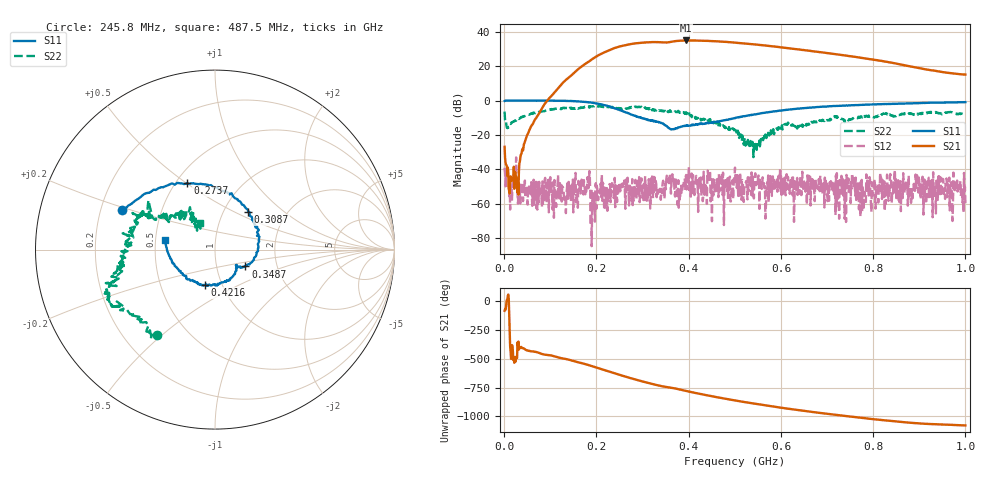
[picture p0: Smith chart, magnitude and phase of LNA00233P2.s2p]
! Created with skrf 1.9.0 (http://scikit-rf.org).
# Hz S RI R 50.0
!freq ReS11 ImS11 ReS21 ImS21 ReS12 ImS12 ReS22 ImS22
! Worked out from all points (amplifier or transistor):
!   1001 points, 1 MHz to 1 GHz, reference 50 ohm
!   highest |S21| = 34.9 dB at 394.6 MHz (marker M1)
!   |S21| within 3 dB of that: 258.1 MHz to 568.2 MHz (310.1 MHz wide, 75.1 % of centre)
!   unconditionally stable (mu >= 1): start of sweep to 87.8 MHz; 305.7 MHz to 400.3 MHz; 400.8 MHz to end of sweep (the widest 3 of 31)
!   at 166.8 MHz: K = 0.65, MSG = 34.2 dB, |S12| = -48.9 dB
!   at 500.5 MHz: K = 1.12, MAG = 34.2 dB, |S12| = -39.0 dB
!   at 1 GHz: K = 13.59, MAG = 23.0 dB, |S12| = -59.7 dB
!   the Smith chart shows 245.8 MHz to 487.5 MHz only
!   S11 on the Smith chart (normalised r, x): 245.8 MHz: 0.29, +0.19; 273.7 MHz: 0.57, +0.50; 308.7 MHz: 1.30, +0.59; 348.7 MHz: 1.38, -0.27; 421.6 MHz: 0.83, -0.34; 487.5 MHz: 0.56, +0.06
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1000000  0.9737 0.00489  0.00637 -0.0448  -0.00929 0.00628  0.3705 0.3045
1.07893e8  0.5144 -0.8521  -0.7523 -1.459  0.00032 0.000226  0.431 -0.3773
1.67833e8  -0.2613 -0.8912  -9.759 -0.4425  -0.00382 0.00327  0.034 -0.629
2.1079e8  -0.6946 -0.3379  -15.13 17.28  0.000559 -0.00146  -0.2289 -0.6513
2.27773e8  -0.6763 -0.0485  -9.341 27.55  -0.00315 0.000232  -0.2748 -0.5871
2.45755e8  -0.5167 0.2181  2.354 35.63  -0.00328 0.002  -0.3232 -0.4752
2.73727e8  -0.1534 0.3697  27.16 34.13  0.00181 0.00026  -0.5553 -0.3185
3.08692e8  0.1847 0.2108  47.93 10.94  0.00124 -0.000142  -0.5683 -0.1834
3.34666e8  0.2401 -0.00758  48.54 -10.81  -0.000618 0.00295  -0.5005 -0.0462
3.48652e8  0.1693 -0.0939  44.81 -19.31  0.00138 0.00325  -0.5031 0.0151
3.72628e8  0.1222 -0.0963  41.41 -34.17  -0.00212 0.000511  -0.4452 0.1558
3.94606e8  0.0763 -0.1739  27.79 -48.4  0.000102 0.00689  -0.4086 0.2048
4.21579e8  -0.0576 -0.1968  6.605 -54.53  0.000981 0.00247  -0.2208 0.1776
4.5055e8  -0.1902 -0.1292  -14.88 -51.75  -0.000126 0.000284  -0.1495 0.1949
4.87513e8  -0.2793 0.0522  -34.15 -36.21  0.00252 0.00147  -0.0821 0.1485
5.005e8  -0.2761 0.1327  -38.67 -29.22  0.00655 -0.00916  -0.116 0.0798
5.4046e8  -0.2023 0.3312  -42.32 -7.752  0.00212 -0.00402  -0.0219 0.00573
5.88412e8  0.00667 0.4895  -34.74 12.2  0.00265 -0.00154  -0.1137 -0.0738
6.67333e8  0.3932 0.4926  -12.51 24.1  -0.000163 -0.00515  -0.2263 -0.0604
7.53247e8  0.6766 0.2757  4.823 18.58  8.2e-05 -0.00277  -0.2847 0.0163
8.34166e8  0.7951 0.00945  9.974 8.365  -0.00102 -0.00239  -0.3922 0.0426
1e9  0.7191 -0.5387  5.681 -0.0561  0.00104 -7.3e-05  -0.2335 0.3378
